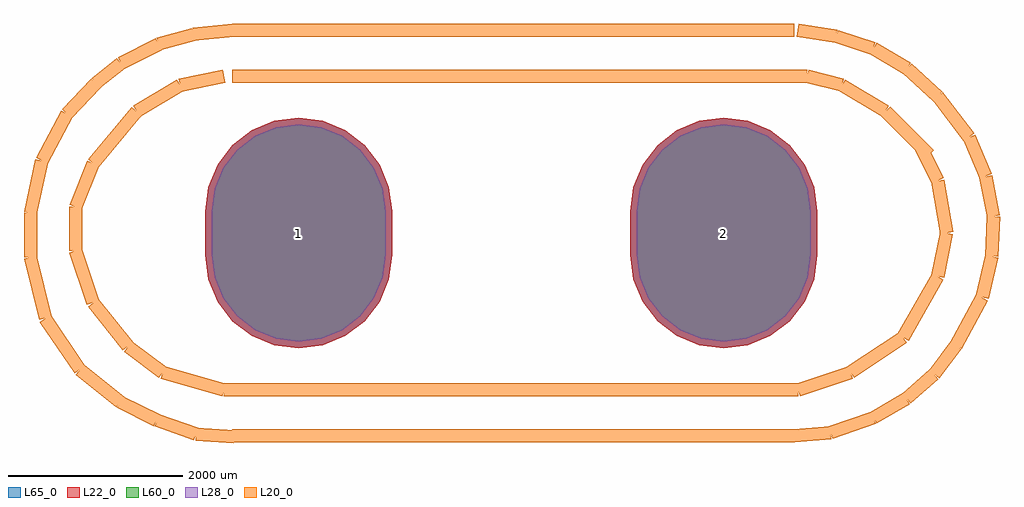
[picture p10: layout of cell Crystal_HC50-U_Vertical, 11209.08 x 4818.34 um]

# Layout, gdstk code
import gdstk
lib = gdstk.Library(unit=1e-6, precision=1e-09)
def P(c, l, *ps):  # polygons
    for p in ps: c.add(gdstk.Polygon(p, *l))
L20_0 = (20, 0)
L22_0 = (22, 0)
L28_0 = (28, 0)
L60_0 = (60, 0)
L65_0 = (65, 0)

crystal_hc50_u_vertical = lib.new_cell('Crystal_HC50-U_Vertical')
P(crystal_hc50_u_vertical, L22_0, [(2440.94,-1324.68),(2719.038,-1288.068),(2978.185,-1180.726),(3200.719,-1009.969),(3371.476,-787.435),(3478.818,-528.288),(3515.43,-250.19),(3515.43,250.19),(3478.818,528.288),(3371.476,787.435),(3200.719,1009.969),(2978.185,1180.726),(2719.038,1288.068),(2440.94,1324.68),(2162.842,1288.068),(1903.695,1180.726),(1681.161,1009.969),(1510.404,787.435),(1403.062,528.288),(1366.45,250.19),(1366.45,-250.19),(1403.062,-528.288),(1510.404,-787.435),(1681.161,-1009.969),(1903.695,-1180.726),(2162.842,-1288.068)],
  [(-2440.94,-1324.68),(-2162.842,-1288.068),(-1903.695,-1180.726),(-1681.161,-1009.969),(-1510.404,-787.435),(-1403.062,-528.288),(-1366.45,-250.19),(-1366.45,250.19),(-1403.062,528.288),(-1510.404,787.435),(-1681.161,1009.969),(-1903.695,1180.726),(-2162.842,1288.068),(-2440.94,1324.68),(-2719.038,1288.068),(-2978.185,1180.726),(-3200.719,1009.969),(-3371.476,787.435),(-3478.818,528.288),(-3515.43,250.19),(-3515.43,-250.19),(-3478.818,-528.288),(-3371.476,-787.435),(-3200.719,-1009.969),(-2978.185,-1180.726),(-2719.038,-1288.068)])
P(crystal_hc50_u_vertical, L28_0, [(2440.94,-1249.68),(2699.627,-1215.623),(2940.685,-1115.774),(3147.686,-956.936),(3306.524,-749.935),(3406.373,-508.877),(3440.43,-250.19),(3440.43,250.19),(3406.373,508.877),(3306.524,749.935),(3147.686,956.936),(2940.685,1115.774),(2699.627,1215.623),(2440.94,1249.68),(2182.253,1215.623),(1941.195,1115.774),(1734.194,956.936),(1575.356,749.935),(1475.507,508.877),(1441.45,250.19),(1441.45,-250.19),(1475.507,-508.877),(1575.356,-749.935),(1734.194,-956.936),(1941.195,-1115.774),(2182.253,-1215.623)],
  [(-2440.94,-1249.68),(-2182.253,-1215.623),(-1941.195,-1115.774),(-1734.194,-956.936),(-1575.356,-749.935),(-1475.507,-508.877),(-1441.45,-250.19),(-1441.45,250.19),(-1475.507,508.877),(-1575.356,749.935),(-1734.194,956.936),(-1941.195,1115.774),(-2182.253,1215.623),(-2440.94,1249.68),(-2699.627,1215.623),(-2940.685,1115.774),(-3147.686,956.936),(-3306.524,749.935),(-3406.373,508.877),(-3440.43,250.19),(-3440.43,-250.19),(-3406.373,-508.877),(-3306.524,-749.935),(-3147.686,-956.936),(-2940.685,-1115.774),(-2699.627,-1215.623)])
P(crystal_hc50_u_vertical, L60_0, [(2440.94,-1249.68),(2699.627,-1215.623),(2940.685,-1115.774),(3147.686,-956.936),(3306.524,-749.935),(3406.373,-508.877),(3440.43,-250.19),(3440.43,250.19),(3406.373,508.877),(3306.524,749.935),(3147.686,956.936),(2940.685,1115.774),(2699.627,1215.623),(2440.94,1249.68),(2182.253,1215.623),(1941.195,1115.774),(1734.194,956.936),(1575.356,749.935),(1475.507,508.877),(1441.45,250.19),(1441.45,-250.19),(1475.507,-508.877),(1575.356,-749.935),(1734.194,-956.936),(1941.195,-1115.774),(2182.253,-1215.623)],
  [(-2440.94,-1249.68),(-2182.253,-1215.623),(-1941.195,-1115.774),(-1734.194,-956.936),(-1575.356,-749.935),(-1475.507,-508.877),(-1441.45,-250.19),(-1441.45,250.19),(-1475.507,508.877),(-1575.356,749.935),(-1734.194,956.936),(-1941.195,1115.774),(-2182.253,1215.623),(-2440.94,1249.68),(-2699.627,1215.623),(-2940.685,1115.774),(-3147.686,956.936),(-3306.524,749.935),(-3406.373,508.877),(-3440.43,250.19),(-3440.43,-250.19),(-3406.373,-508.877),(-3306.524,-749.935),(-3147.686,-956.936),(-2940.685,-1115.774),(-2699.627,-1215.623)])
P(crystal_hc50_u_vertical, L65_0, [(2440.94,-1324.68),(2719.038,-1288.068),(2978.185,-1180.726),(3200.719,-1009.969),(3371.476,-787.435),(3478.818,-528.288),(3515.43,-250.19),(3515.43,250.19),(3478.818,528.288),(3371.476,787.435),(3200.719,1009.969),(2978.185,1180.726),(2719.038,1288.068),(2440.94,1324.68),(2162.842,1288.068),(1903.695,1180.726),(1681.161,1009.969),(1510.404,787.435),(1403.062,528.288),(1366.45,250.19),(1366.45,-250.19),(1403.062,-528.288),(1510.404,-787.435),(1681.161,-1009.969),(1903.695,-1180.726),(2162.842,-1288.068)],
  [(-2440.94,-1324.68),(-2162.842,-1288.068),(-1903.695,-1180.726),(-1681.161,-1009.969),(-1510.404,-787.435),(-1403.062,-528.288),(-1366.45,-250.19),(-1366.45,250.19),(-1403.062,528.288),(-1510.404,787.435),(-1681.161,1009.969),(-1903.695,1180.726),(-2162.842,1288.068),(-2440.94,1324.68),(-2719.038,1288.068),(-2978.185,1180.726),(-3200.719,1009.969),(-3371.476,787.435),(-3478.818,528.288),(-3515.43,250.19),(-3515.43,-250.19),(-3478.818,-528.288),(-3371.476,-787.435),(-3200.719,-1009.969),(-2978.185,-1180.726),(-2719.038,-1288.068)])
crystal_hc50_u_vertical.add(gdstk.FlexPath([(-3200.4,2329.18),(3251.2,2329.18)], 149.998, ends="flush", simple_path=True, layer=20, datatype=0))  # L20_0
crystal_hc50_u_vertical.add(gdstk.FlexPath([(3670.3,-2291.08),(4160.52,-2120.9)], 149.998, ends="flush", simple_path=True, layer=20, datatype=0))  # L20_0
crystal_hc50_u_vertical.add(gdstk.FlexPath([(3251.2,-2329.18),(3670.3,-2291.08)], 149.998, ends="flush", simple_path=True, layer=20, datatype=0))  # L20_0
crystal_hc50_u_vertical.add(gdstk.FlexPath([(-3200.4,-2329.18),(3251.2,-2329.18)], 149.998, ends="flush", simple_path=True, layer=20, datatype=0))  # L20_0
crystal_hc50_u_vertical.add(gdstk.FlexPath([(3731.26,2260.6),(3289.3,2329.18)], 149.998, ends="flush", simple_path=True, layer=20, datatype=0))  # L20_0
crystal_hc50_u_vertical.add(gdstk.FlexPath([(4160.52,2120.9),(3731.26,2260.6)], 149.998, ends="flush", simple_path=True, layer=20, datatype=0))  # L20_0
crystal_hc50_u_vertical.add(gdstk.FlexPath([(4549.14,1889.76),(4160.52,2120.9)], 149.998, ends="flush", simple_path=True, layer=20, datatype=0))  # L20_0
crystal_hc50_u_vertical.add(gdstk.FlexPath([(4899.66,1569.72),(4549.14,1889.76)], 149.998, ends="flush", simple_path=True, layer=20, datatype=0))  # L20_0
crystal_hc50_u_vertical.add(gdstk.FlexPath([(5260.34,1099.82),(4899.66,1569.72)], 149.998, ends="flush", simple_path=True, layer=20, datatype=0))  # L20_0
crystal_hc50_u_vertical.add(gdstk.FlexPath([(5450.84,650.24),(5260.34,1099.82)], 149.998, ends="flush", simple_path=True, layer=20, datatype=0))  # L20_0
crystal_hc50_u_vertical.add(gdstk.FlexPath([(5539.74,190.5),(5450.84,650.24)], 149.998, ends="flush", simple_path=True, layer=20, datatype=0))  # L20_0
crystal_hc50_u_vertical.add(gdstk.FlexPath([(5519.42,-269.24),(5539.74,190.5)], 149.998, ends="flush", simple_path=True, layer=20, datatype=0))  # L20_0
crystal_hc50_u_vertical.add(gdstk.FlexPath([(5410.2,-739.14),(5519.42,-269.24)], 149.998, ends="flush", simple_path=True, layer=20, datatype=0))  # L20_0
crystal_hc50_u_vertical.add(gdstk.FlexPath([(5110.48,-1290.32),(5410.2,-739.14)], 149.998, ends="flush", simple_path=True, layer=20, datatype=0))  # L20_0
crystal_hc50_u_vertical.add(gdstk.FlexPath([(4859.02,-1620.52),(5110.48,-1290.32)], 149.998, ends="flush", simple_path=True, layer=20, datatype=0))  # L20_0
crystal_hc50_u_vertical.add(gdstk.FlexPath([(4538.98,-1899.92),(4859.02,-1620.52)], 149.998, ends="flush", simple_path=True, layer=20, datatype=0))  # L20_0
crystal_hc50_u_vertical.add(gdstk.FlexPath([(4160.52,-2120.9),(4538.98,-1899.92)], 149.998, ends="flush", simple_path=True, layer=20, datatype=0))  # L20_0
crystal_hc50_u_vertical.add(gdstk.FlexPath([(-3619.5,-2308.86),(-3180.08,-2339.34)], 149.998, ends="flush", simple_path=True, layer=20, datatype=0))  # L20_0
crystal_hc50_u_vertical.add(gdstk.FlexPath([(-4069.08,-2148.84),(-3619.5,-2308.86)], 149.998, ends="flush", simple_path=True, layer=20, datatype=0))  # L20_0
crystal_hc50_u_vertical.add(gdstk.FlexPath([(-4490.72,-1940.56),(-4069.08,-2148.84)], 149.998, ends="flush", simple_path=True, layer=20, datatype=0))  # L20_0
crystal_hc50_u_vertical.add(gdstk.FlexPath([(-4950.46,-1569.72),(-4490.72,-1940.56)], 149.998, ends="flush", simple_path=True, layer=20, datatype=0))  # L20_0
crystal_hc50_u_vertical.add(gdstk.FlexPath([(-5349.24,-980.44),(-4950.46,-1569.72)], 149.998, ends="flush", simple_path=True, layer=20, datatype=0))  # L20_0
crystal_hc50_u_vertical.add(gdstk.FlexPath([(-5519.42,-279.4),(-5349.24,-980.44)], 149.998, ends="flush", simple_path=True, layer=20, datatype=0))  # L20_0
crystal_hc50_u_vertical.add(gdstk.FlexPath([(-5519.42,231.14),(-5519.42,-279.4)], 149.998, ends="flush", simple_path=True, layer=20, datatype=0))  # L20_0
crystal_hc50_u_vertical.add(gdstk.FlexPath([(-5389.88,830.58),(-5519.42,231.14)], 149.998, ends="flush", simple_path=True, layer=20, datatype=0))  # L20_0
crystal_hc50_u_vertical.add(gdstk.FlexPath([(-5100.32,1369.06),(-5389.88,830.58)], 149.998, ends="flush", simple_path=True, layer=20, datatype=0))  # L20_0
crystal_hc50_u_vertical.add(gdstk.FlexPath([(-4770.12,1719.58),(-5100.32,1369.06)], 149.998, ends="flush", simple_path=True, layer=20, datatype=0))  # L20_0
crystal_hc50_u_vertical.add(gdstk.FlexPath([(-4480.56,1950.72),(-4770.12,1719.58)], 149.998, ends="flush", simple_path=True, layer=20, datatype=0))  # L20_0
crystal_hc50_u_vertical.add(gdstk.FlexPath([(-4048.76,2169.16),(-4480.56,1950.72)], 149.998, ends="flush", simple_path=True, layer=20, datatype=0))  # L20_0
crystal_hc50_u_vertical.add(gdstk.FlexPath([(-3649.98,2280.92),(-4048.76,2169.16)], 149.998, ends="flush", simple_path=True, layer=20, datatype=0))  # L20_0
crystal_hc50_u_vertical.add(gdstk.FlexPath([(-3190.24,2329.18),(-3649.98,2280.92)], 149.998, ends="flush", simple_path=True, layer=20, datatype=0))  # L20_0
crystal_hc50_u_vertical.add(gdstk.FlexPath([(4300.22,1399.54),(4800.6,899.16)], 149.998, ends="flush", simple_path=True, layer=20, datatype=0))  # L20_0
crystal_hc50_u_vertical.add(gdstk.FlexPath([(3799.84,1699.26),(4300.22,1399.54)], 149.998, ends="flush", simple_path=True, layer=20, datatype=0))  # L20_0
crystal_hc50_u_vertical.add(gdstk.FlexPath([(3401.06,1800.86),(3799.84,1699.26)], 149.998, ends="flush", simple_path=True, layer=20, datatype=0))  # L20_0
crystal_hc50_u_vertical.add(gdstk.FlexPath([(-3200.4,1800.86),(3401.06,1800.86)], 149.998, ends="flush", simple_path=True, layer=20, datatype=0))  # L20_0
crystal_hc50_u_vertical.add(gdstk.FlexPath([(-3799.84,1699.26),(-3299.46,1800.86)], 149.998, ends="flush", simple_path=True, layer=20, datatype=0))  # L20_0
crystal_hc50_u_vertical.add(gdstk.FlexPath([(-4300.22,1399.54),(-3799.84,1699.26)], 149.998, ends="flush", simple_path=True, layer=20, datatype=0))  # L20_0
crystal_hc50_u_vertical.add(gdstk.FlexPath([(-4800.6,800.1),(-4300.22,1399.54)], 149.998, ends="flush", simple_path=True, layer=20, datatype=0))  # L20_0
crystal_hc50_u_vertical.add(gdstk.FlexPath([(-5001.26,299.72),(-4800.6,800.1)], 149.998, ends="flush", simple_path=True, layer=20, datatype=0))  # L20_0
crystal_hc50_u_vertical.add(gdstk.FlexPath([(-5001.26,-200.66),(-5001.26,299.72)], 149.998, ends="flush", simple_path=True, layer=20, datatype=0))  # L20_0
crystal_hc50_u_vertical.add(gdstk.FlexPath([(-4800.6,-800.1),(-5001.26,-200.66)], 149.998, ends="flush", simple_path=True, layer=20, datatype=0))  # L20_0
crystal_hc50_u_vertical.add(gdstk.FlexPath([(-4399.28,-1300.48),(-4800.6,-800.1)], 149.998, ends="flush", simple_path=True, layer=20, datatype=0))  # L20_0
crystal_hc50_u_vertical.add(gdstk.FlexPath([(-4000.5,-1600.2),(-4399.28,-1300.48)], 149.998, ends="flush", simple_path=True, layer=20, datatype=0))  # L20_0
crystal_hc50_u_vertical.add(gdstk.FlexPath([(-3299.46,-1800.86),(-4000.5,-1600.2)], 149.998, ends="flush", simple_path=True, layer=20, datatype=0))  # L20_0
crystal_hc50_u_vertical.add(gdstk.FlexPath([(3299.46,-1800.86),(-3299.46,-1800.86)], 149.998, ends="flush", simple_path=True, layer=20, datatype=0))  # L20_0
crystal_hc50_u_vertical.add(gdstk.FlexPath([(3898.9,-1600.2),(3299.46,-1800.86)], 149.998, ends="flush", simple_path=True, layer=20, datatype=0))  # L20_0
crystal_hc50_u_vertical.add(gdstk.FlexPath([(4500.88,-1198.88),(3898.9,-1600.2)], 149.998, ends="flush", simple_path=True, layer=20, datatype=0))  # L20_0
crystal_hc50_u_vertical.add(gdstk.FlexPath([(4899.66,-500.38),(4500.88,-1198.88)], 149.998, ends="flush", simple_path=True, layer=20, datatype=0))  # L20_0
crystal_hc50_u_vertical.add(gdstk.FlexPath([(5001.26,0),(4899.66,-500.38)], 149.998, ends="flush", simple_path=True, layer=20, datatype=0))  # L20_0
crystal_hc50_u_vertical.add(gdstk.FlexPath([(4899.66,599.44),(5001.26,0)], 149.998, ends="flush", simple_path=True, layer=20, datatype=0))  # L20_0
crystal_hc50_u_vertical.add(gdstk.FlexPath([(4699,1000.76),(4899.66,599.44)], 149.998, ends="flush", simple_path=True, layer=20, datatype=0))  # L20_0
crystal_hc50_u_vertical.add(gdstk.Label('2', (2440.94,0), layer=28, texttype=0))
crystal_hc50_u_vertical.add(gdstk.Label('1', (-2440.94,0), layer=28, texttype=0))
crystal_hc50_u_vertical.add(gdstk.Label('type', (0,-3810), layer=9, texttype=0))
crystal_hc50_u_vertical.add(gdstk.Label('devicename', (0,3810), layer=9, texttype=0))

lib.write_gds('Crystal_HC50-U_Vertical.gds')
